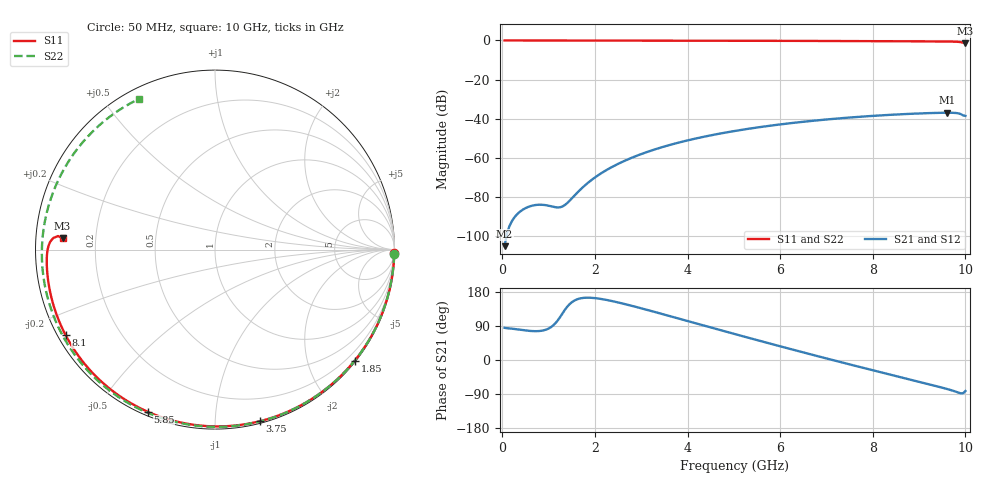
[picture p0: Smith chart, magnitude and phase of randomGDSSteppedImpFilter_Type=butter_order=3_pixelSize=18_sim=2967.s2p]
! freq	dB(S11)	phase(S11)	dB(S12)	phase(S12)
!  dB(S21)	phase(S21)	dB(S22)	phase(S22)
!S-par simulation data
#  GHz  S  DB  R 50
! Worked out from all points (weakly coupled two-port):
!   200 points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, 50 MHz to 10 GHz, reference 50 ohm
!   highest |S21| = -36.93 dB at 9.6 GHz (marker M1); lowest = -105.1 dB at 50 MHz (marker M2)
!   lowest |S11| = -1.4 dB at 10 GHz (marker M3), VSWR 12.49, Z = 4.01 + j1.83 ohm
!   |S11| at or under -10 dB: nowhere
!   |S22| runs from -0.5 to 0.0 dB; largest |S21 - S12| = 0
!   S11 on the Smith chart (normalised r, x): 50 MHz: open; 1.85 GHz: 0.03, -2.87; 3.75 GHz: 0.02, -1.30; 5.85 GHz: 0.02, -0.67; 8.1 GHz: 0.02, -0.27; 10 GHz: 0.08, +0.04
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0.05  -0.00 -1.0  -105.13 84.9  -105.13 84.9  -0.01 -1.5
0.75  -0.02 -15.8  -84.01 76.1  -84.01 76.1  -0.03 -23.5
1.5  -0.04 -31.3  -80.74 152.3  -80.74 152.3  -0.06 -46.2
1.55  -0.04 -32.4  -79.48 156.4  -79.48 156.4  -0.06 -47.7
1.75  -0.05 -36.4  -74.79 163.9  -74.79 163.9  -0.07 -53.6
1.85  -0.05 -38.5  -72.75 164.5  -72.75 164.5  -0.07 -56.4
2.15  -0.06 -44.5  -67.66 160.8  -67.66 160.8  -0.08 -65.0
2.5  -0.07 -51.4  -63.08 151.9  -63.08 151.9  -0.09 -74.6
2.9  -0.08 -59.2  -58.96 139.7  -58.96 139.7  -0.10 -85.3
3.4  -0.09 -68.8  -54.90 123.2  -54.90 123.2  -0.12 -98.0
3.75  -0.10 -75.3  -52.56 111.4  -52.56 111.4  -0.13 -106.6
4.35  -0.12 -86.3  -49.23 91.0  -49.23 91.0  -0.16 -120.8
5.05  -0.15 -98.8  -46.14 67.5  -46.14 67.5  -0.19 -136.5
5.85  -0.19 -112.6  -43.36 41.0  -43.36 41.0  -0.23 -153.7
6.7  -0.25 -126.9  -41.07 13.6  -41.07 13.6  -0.29 -171.5
7.4  -0.30 -138.5  -39.58 -8.5  -39.58 -8.5  -0.34 173.9
8.1  -0.36 -150.2  -38.40 -30.1  -38.40 -30.1  -0.39 159.1
8.35  -0.39 -154.4  -38.05 -37.8  -38.05 -37.8  -0.41 153.8
8.95  -0.45 -164.7  -37.36 -56.0  -37.36 -56.0  -0.46 140.7
9.6  -0.55 -176.8  -36.93 -76.4  -36.93 -76.4  -0.50 126.0
9.85  -0.73 177.3  -37.25 -86.1  -37.25 -86.1  -0.52 120.2
10  -1.39 175.8  -38.55 -81.9  -38.55 -81.9  -0.53 116.7
